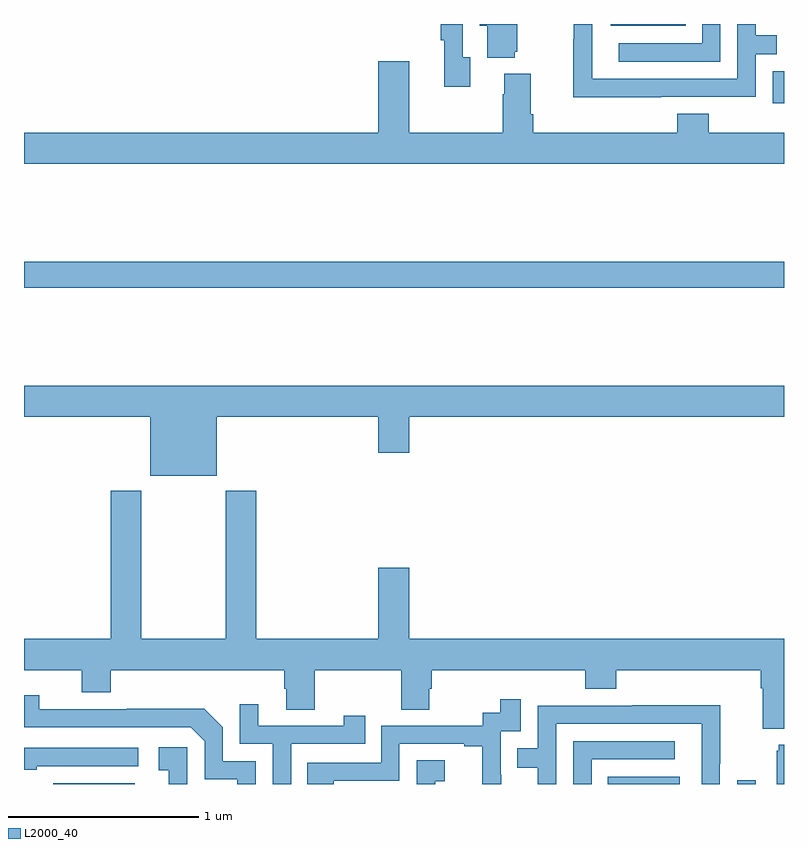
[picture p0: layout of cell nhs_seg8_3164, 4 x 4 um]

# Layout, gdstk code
import gdstk
lib = gdstk.Library(unit=1e-6, precision=1e-09)
def R(c, l, rs):  # rectangles x0, y0, x1, y1
    for r in rs: c.add(gdstk.rectangle(r[:2], r[2:], *l))
def P(c, l, *ps):  # polygons
    for p in ps: c.add(gdstk.Polygon(p, *l))
L2000_40 = (2000, 40)

nhs_seg8_3164 = lib.new_cell('nhs_seg8_3164')
R(nhs_seg8_3164, L2000_40, [(307.155,1115.9,307.582,1115.905), (310.072,1115.9,310.45,1115.938), (310.755,1115.9,310.851,1115.92), (307,1118.512,311,1118.648), (310.941,1119.483,311,1119.651), (310.088,1119.89,310.484,1119.9)])
P(nhs_seg8_3164, L2000_40, [(310.355,1119.516),(310.851,1119.516),(310.851,1119.741),(310.961,1119.741),(310.961,1119.842),(310.851,1119.842),(310.851,1119.9),(310.755,1119.9),(310.755,1119.612),(309.991,1119.612),(309.991,1119.866),(309.99,1119.866),(309.99,1119.9),(309.894,1119.9),(309.894,1119.821),(309.892,1119.821),(309.892,1119.515),(310.355,1119.515)],
  [(309.349,1119.726),(309.309,1119.726),(309.309,1119.9),(309.193,1119.9),(309.193,1119.814),(309.212,1119.814),(309.212,1119.57),(309.349,1119.57)],
  [(309.584,1119.753),(309.595,1119.753),(309.595,1119.9),(309.398,1119.9),(309.398,1119.89),(309.437,1119.89),(309.437,1119.722),(309.584,1119.722)],
  [(310.665,1119.9),(310.569,1119.9),(310.569,1119.798),(310.131,1119.798),(310.131,1119.702),(310.665,1119.702)],
  [(311,1119.328),(310.604,1119.328),(310.604,1119.427),(310.439,1119.427),(310.439,1119.328),(309.68,1119.328),(309.68,1119.424),(309.667,1119.424),(309.667,1119.637),(309.527,1119.637),(309.527,1119.53),(309.52,1119.53),(309.52,1119.328),(309.028,1119.328),(309.028,1119.703),(308.864,1119.703),(308.864,1119.328),(307,1119.328),(307,1119.164),(311,1119.164)],
  [(308.014,1117.832),(308.864,1117.832),(308.864,1117.644),(309.028,1117.644),(309.028,1117.832),(311,1117.832),(311,1117.996),(307,1117.996),(307,1117.832),(307.664,1117.832),(307.664,1117.523),(308.014,1117.523)],
  [(308.222,1117.444),(308.062,1117.444),(308.062,1116.664),(307.617,1116.664),(307.617,1117.444),(307.457,1117.444),(307.457,1116.664),(307,1116.664),(307,1116.5),(307.304,1116.5),(307.304,1116.383),(307.457,1116.383),(307.457,1116.5),(308.369,1116.5),(308.369,1116.402),(308.381,1116.402),(308.381,1116.292),(308.529,1116.292),(308.529,1116.5),(308.986,1116.5),(308.986,1116.292),(309.133,1116.292),(309.133,1116.402),(309.146,1116.402),(309.146,1116.5),(309.953,1116.5),(309.953,1116.401),(310.118,1116.401),(310.118,1116.5),(310.877,1116.5),(310.877,1116.404),(310.889,1116.404),(310.889,1116.191),(311,1116.191),(311,1116.664),(309.028,1116.664),(309.028,1117.039),(308.864,1117.039),(308.864,1116.664),(308.222,1116.664)],
  [(308.22,1116.021),(308.046,1116.021),(308.046,1116.198),(307.948,1116.296),(307.54,1116.296),(307.54,1116.294),(307.08,1116.294),(307.08,1116.367),(307,1116.367),(307,1116.198),(307.878,1116.198),(307.95,1116.126),(307.95,1115.925),(308.123,1115.925),(308.123,1115.9),(308.22,1115.9)],
  [(308.631,1115.916),(308.976,1115.916),(308.976,1116.111),(309.317,1116.111),(309.317,1116.099),(309.413,1116.099),(309.413,1115.9),(309.512,1115.9),(309.512,1115.948),(309.51,1115.948),(309.51,1116.177),(309.615,1116.177),(309.615,1116.346),(309.507,1116.346),(309.507,1116.276),(309.414,1116.276),(309.414,1116.207),(308.88,1116.207),(308.88,1116.012),(308.491,1116.012),(308.491,1115.9),(308.631,1115.9)],
  [(308.406,1116.111),(308.795,1116.111),(308.795,1116.259),(308.684,1116.259),(308.684,1116.207),(308.233,1116.207),(308.233,1116.319),(308.136,1116.319),(308.136,1116.111),(308.31,1116.111),(308.31,1115.9),(308.406,1115.9)],
  [(309.801,1116.216),(310.566,1116.216),(310.566,1115.9),(310.662,1115.9),(310.662,1116.007),(310.665,1116.007),(310.665,1116.314),(310.201,1116.314),(310.201,1116.312),(309.705,1116.312),(309.705,1116.087),(309.595,1116.087),(309.595,1115.986),(309.705,1115.986),(309.705,1115.9),(309.801,1115.9)],
  [(309.987,1116.03),(310.426,1116.03),(310.426,1116.126),(309.891,1116.126),(309.891,1115.9),(309.987,1115.9)],
  [(311,1116.106),(310.973,1116.106),(310.973,1116.075),(310.961,1116.075),(310.961,1115.9),(311,1115.9)],
  [(307.86,1116.094),(307.71,1116.094),(307.71,1115.973),(307.763,1115.973),(307.763,1115.9),(307.86,1115.9)],
  [(307.067,1115.994),(307.6,1115.994),(307.6,1116.09),(307,1116.09),(307,1115.974),(307.067,1115.974)],
  [(309.165,1115.915),(309.214,1115.915),(309.214,1116.025),(309.066,1116.025),(309.066,1115.9),(309.165,1115.9)])

lib.write_gds('nhs_seg8_3164.gds')
